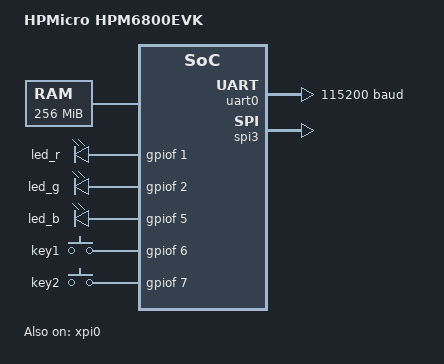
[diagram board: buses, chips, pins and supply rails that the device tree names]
/*
 * Copyright 2024 HPMicro
 * SPDX-License-Identifier: Apache-2.0
 */

/dts-v1/;

#include <hpmicro/hpm6880.dtsi>
#include "hpm6800evk-pinctrl.dtsi"
#include <zephyr/dt-bindings/display/panel.h>

/ {
	model = "HPMicro HPM6800EVK";
	compatible = "HPMicro,hpm6800evk";

	aliases {
		led0 = &led_r;
		sw0 = &key1;
	};

	chosen {
		zephyr,console = &uart0;
		zephyr,shell-uart = &uart0;
		zephyr,sram = &dram;
		zephyr,flash = &flash0;
		zephyr,itcm = &ilm;
		zephyr,dtcm = &dlm;
		zephyr,code-partition = &slot0_partition;
	};

	dram: memory@40000000 {
		device_type = "memory";
		reg = <0x40000000 DT_SIZE_M(256)>;
	};

	leds {
		compatible = "gpio-leds";
		led_r: led_r {
			gpios = <&gpiof 1 (GPIO_PULL_DOWN | GPIO_ACTIVE_HIGH)>;
		};
		led_g: led_g {
			gpios = <&gpiof 2 (GPIO_PULL_DOWN | GPIO_ACTIVE_HIGH)>;
		};
		led_b: led_b {
			gpios = <&gpiof 5 (GPIO_PULL_DOWN | GPIO_ACTIVE_HIGH)>;
		};		
	};

	gpio_keys {
		compatible = "gpio-keys";
		key1: key1 {
			gpios = <&gpiof 6 (GPIO_PULL_UP | GPIO_ACTIVE_HIGH)>;
		};
		key2: key2 {
			gpios = <&gpiof 7 (GPIO_PULL_UP | GPIO_ACTIVE_HIGH)>;
		};
	};

	panels {
		panel_tm070rdh13: panel_tm070rdh13 {
			compatible = "hpmicro,hpm-display-rgb";
			panel_name = "tm070rdh13";
			pixel_clock_khz = <60000>;
			hactive = <800>;
			hfront_porch = <50>;
			hback_porch = <36>;
			hsync_len = <10>;
			hsync_pol = <1>;

			vactive = <480>;
			vfront_porch = <10>;
			vback_porch = <20>;
			vsync_len = <3>;
			vsync_pol = <1>;
		};

		panel_cc10128007: panel_cc10128007 {
			compatible = "hpmicro,hpm-display-lvds";
			panel_name = "cc10128007";
			pixel_clock_khz = <74250>;
			hactive = <800>;
			hfront_porch = <60>;
			hback_porch = <60>;
			hsync_len = <40>;

			vactive = <1280>;
			vfront_porch = <18>;
			vback_porch = <18>;
			vsync_len = <6>;
		};

		panel_mc10128007: panel_mc10128007 {
			compatible = "hpmicro,hpm-display-mipi";
			panel_name = "mc10128007";
			pixel_clock_khz = <60000>;
			hactive = <800>;
			hfront_porch = <52>;
			hback_porch = <48>;
			hsync_len = <8>;

			vactive = <1280>;
			vfront_porch = <15>;
			vback_porch = <16>;
			vsync_len = <6>;

			mipi_lane_num = <4>;
			mipi_lane_speed = <500>;

			mipi_cmd = [
				05 00 FF 98 81 03  03 00 01 00  03 00 02 00  03 00 03 55  03 00 04 55  03 00 05 03  
				03 00 06 06  03 00 07 00  03 00 08 07  03 00 09 00  03 00 0A 00  03 00 0B 00  
				03 00 0C 00  03 00 0D 00  03 00 0E 00  03 00 0F 00  03 00 10 00  03 00 11 00  
				03 00 12 00  03 00 13 00  03 00 14 00  03 00 15 00  03 00 16 00  03 00 17 00  
				03 00 18 00  03 00 19 00  03 00 1A 00  03 00 1B 00  03 00 1C 00  03 00 1D 00  
				03 00 1E C0  03 00 1F 80  03 00 20 04  03 00 21 03  03 00 22 00  03 00 23 00  
				03 00 24 00  03 00 25 00  03 00 26 00  03 00 27 00  03 00 28 33  03 00 29 33  
				03 00 2A 00  03 00 2B 00  03 00 2C 00  03 00 2D 00  03 00 2E 00  03 00 2F 00  
				03 00 30 00  03 00 31 00  03 00 32 00  03 00 33 00  03 00 34 04  03 00 35 00  
				03 00 36 00  03 00 37 00  03 00 38 3C  03 00 39 00  03 00 3A 00  03 00 3B 00  
				03 00 3C 00  03 00 3D 00  03 00 3E 00  03 00 3F 00  03 00 40 00  03 00 41 00  
				03 00 42 00  03 00 43 00  03 00 44 00  03 00 50 00  03 00 51 11  03 00 52 44  
				03 00 53 55  03 00 54 88  03 00 55 AB  03 00 56 00  03 00 57 11  03 00 58 22  
				03 00 59 33  03 00 5A 44  03 00 5B 55  03 00 5C 66  03 00 5D 77  03 00 5E 00  
				03 00 5F 02  03 00 60 02  03 00 61 0A  03 00 62 09  03 00 63 08  03 00 64 13  
				03 00 65 12  03 00 66 11  03 00 67 10  03 00 68 0F  03 00 69 0E  03 00 6A 0D  
				03 00 6B 0C  03 00 6C 06  03 00 6D 07  03 00 6E 02  03 00 6F 02  03 00 70 02  
				03 00 71 02  03 00 72 02  03 00 73 02  03 00 74 02  03 00 75 02  03 00 76 02  
				03 00 77 0A  03 00 78 06  03 00 79 07  03 00 7A 10  03 00 7B 11  03 00 7C 12  
				03 00 7D 13  03 00 7E 0C  03 00 7F 0D  03 00 80 0E  03 00 81 0F  03 00 82 09  
				03 00 83 08  03 00 84 02  03 00 85 02  03 00 86 02  03 00 87 02  03 00 88 02  
				03 00 89 02  03 00 8A 02  05 00 FF 98 81 04  03 00 6E 2A  03 00 6F 37  03 00 3A 24  
				03 00 8D 19  03 00 87 BA  03 00 B2 D1  03 00 88 0B  03 00 38 01  03 00 39 00  
				03 00 B5 02  03 00 31 25  03 00 3B 98  05 00 FF 98 81 01  03 00 22 0A  03 00 31 0C  
				03 00 53 40  03 00 55 45  03 00 50 B7  03 00 51 B2  03 00 60 07  03 00 A0 22  
				03 00 A1 3F  03 00 A2 4E  03 00 A3 17  03 00 A4 1A  03 00 A5 2D  03 00 A6 21  
				03 00 A7 22  03 00 A8 C4  03 00 A9 1B  03 00 AA 25  03 00 AB A7  03 00 AC 1A  
				03 00 AD 19  03 00 AE 4B  03 00 AF 1F  03 00 B0 2A  03 00 B1 59  03 00 B2 64  
				03 00 B3 3F  03 00 C0 22  03 00 C1 48  03 00 C2 59  03 00 C3 15  03 00 C4 15  
				03 00 C5 28  03 00 C6 1C  03 00 C7 1E  03 00 C8 C4  03 00 C9 1C  03 00 CA 2B  
				03 00 CB A3  03 00 CC 1F  03 00 CD 1E  03 00 CE 52  03 00 CF 24  03 00 D0 2A  
				03 00 D1 58  03 00 D2 68  03 00 D3 3F  05 00 FF 98 81 00  02 78 11  02 00 29];
		};

		panel_tm103xdgp01: panel_tm103xdgp01 {
			compatible = "hpmicro,hpm-display-lvds";
			panel_name = "tm103xdgp01";
			dual_lvds_phy;
			pixel_clock_khz = <45000>;
			hactive = <1920>;
			hfront_porch = <32>;
			hback_porch = <32>;
			hsync_len = <64>;

			vactive = <720>;
			vfront_porch = <2>;
			vback_porch = <2>;
			vsync_len = <4>;
		};
	};

	video {
		video0: video0 {
			compatible = "hpmicro,hpm-video";
			status = "disabled";
		};

		video1: video1 {
			compatible = "hpmicro,hpm-video";
			status = "disabled";
		};
	};

};

&rgb0 {
	endpoint_in = <&lcdc1>;
};

&lvb_lvds0 {
	endpoint_in = <&lcdc0>;
};

&lvb_lvds1 {
	endpoint_in = <&lcdc1>;
};

&mipi_dsi0 {
	endpoint_in = <&lcdc0>;
};

&panel_tm070rdh13 {
	endpoint_in = <&rgb0>;
	pinctrl-0 = <&pinmux_rgb>;
	pinctrl-names = "default";
	backlight-gpios = <&gpioa 9 GPIO_ACTIVE_HIGH>;
	reset-gpios = <&gpioa 14 GPIO_ACTIVE_LOW>;
	cfg-gpios = <&gpioy 5 GPIO_ACTIVE_HIGH>;
	reset-time-active = <10>;
	pixel-format = <PANEL_PIXEL_FORMAT_ARGB_8888>;
	status = "disabled";
};

&panel_cc10128007 {
	endpoint_in = <&lvb_lvds1>;
	pinctrl-0 = <&pinmux_mipi_lvds_tx1>;
	pinctrl-names = "default";
	backlight-gpios = <&gpioa 31 GPIO_ACTIVE_HIGH>;
	cfg-gpios = <&gpioa 30 GPIO_ACTIVE_HIGH>;
	pixel-format = <PANEL_PIXEL_FORMAT_ARGB_8888>;
	status = "disabled";
};

&panel_mc10128007 {
	endpoint_in = <&mipi_dsi0>;
	pinctrl-0 = <&pinmux_mipi_lvds_tx0>;
	pinctrl-names = "default";
	reset-gpios = <&gpiob 1 GPIO_ACTIVE_LOW>;
	reset-time-active = <1>;
	reset-time-inactive = <10>;
	status = "disabled";
};

&panel_tm103xdgp01 {
	endpoint_in = <&lvb_lvds0>;
	pinctrl-0 = <&pinmux_lvb_lvds_dual>;
	pinctrl-names = "default";
	reset-gpios = <&gpioa 31 GPIO_ACTIVE_LOW>;
	reset-time-active = <10>;
	pixel-format = <PANEL_PIXEL_FORMAT_ARGB_8888>;
	status = "disabled";
};

&hdma {
	status = "okay";
};

&xdma {
	status = "okay";
};

&uart0 {
	status = "okay";
	current-speed = <115200>;
	pinctrl-0 = <&pinmux_uart0>;
	pinctrl-names = "default";
	uart-idle-trgm-reg = <0xF022C000>;
	uart-idle-trgm-pin = <115>;
	uart-idle-trgm-input-src = <0x0B>;
	uart-idle-trgm-output-gptmr-in = <0x38>;
	uart-idle-trgm-output-gptmr-sync = <0x37>;
	uart-idle-gptmr-reg = <0xF0090000>;
	uart-idle-gptmr-clock-name = <CLOCK_GPTMR4>;
	dmas = <&hdma 0 8>, <&hdma 1 9>;
	dma-names = "rx", "tx";
};

&gpioe {
	pinctrl-0 = <&pinmux_gpioe>;
	pinctrl-names = "default";
	status = "okay";
};

&gpiof {
	pinctrl-0 = <&pinmux_gpiof>;
	pinctrl-names = "default";
	status = "okay";
};

&gpioa {
	status = "okay";
};

&gpioy {
	status = "okay";
};

&gpiob {
	status = "okay";
};

&spi3 {
	status = "okay";
	pinctrl-0 = <&pinmux_spi3>;
	pinctrl-names = "default";
	cs-gpios = <&gpioe 4 GPIO_ACTIVE_LOW>;
	/* HDMA channels 0 and 1, muxed to SPI3 RX and TX */
	dmas = <&hdma 2 6>, <&hdma 3 7>;
	dma-names = "rx", "tx";
};

&xpi0 {
	status = "okay";
	flash0: flash@0 {
		compatible = "soc-nv-flash";
		reg = <0x80000000 DT_SIZE_M(16)>;
		status = "okay";
		erase-block-size = <4096>;
		write-block-size = <1>;
		
		partitions {
			compatible = "fixed-partitions";
			#address-cells = <1>;
			#size-cells = <1>;

			boot_partition: partition@0 {
				label = "mcuboot";
				reg = <0x0 0x3000>;
			};

			slot0_partition: partition@3000 {
				label = "image-0";
				reg = <0x3000 DT_SIZE_M(4)>;
			};
		};
	};
};

&gpioa {
	pinctrl-0 = <&pinmux_gpioa>;
	pinctrl-names = "default";
	status = "okay";	
};

&gpiob {
	pinctrl-0 = <&pinmux_gpiob>;
	pinctrl-names = "default";
	status = "okay";	
};

&i2c0 {
	status = "disabled";
	pinctrl-0 = <&pinmux_i2c0>;
	pinctrl-names = "default";

	ov5640: ov5640@3c {
		compatible = "ovti,ov5640";
		reg = <0x3c>;
		status = "disabled";

		reset-gpios = <&gpioa 22 GPIO_ACTIVE_HIGH>;
		powerdown-gpios = <&gpioa 21 GPIO_ACTIVE_LOW>;
	};
	
	ov7725: ov7725@21 {
		compatible = "ovti,ov7725";
		reg = <0x21>;
		status = "disabled";

		reset-gpios = <&gpioa 22 GPIO_ACTIVE_HIGH>;
	};

};

&i2c1 {
	status = "disabled";
	pinctrl-0 = <&pinmux_i2c1>;
	pinctrl-names = "default";

	eeprom: eeprom@50 {
		compatible = "atmel,at24";
		status = "disabled";
		reg = <0x50>;
		size = <256>;
		address-width = <8>;
		timeout = <25>;
		pagesize = <16>;
	};
};

&mipi_csi0 {
	status = "disabled";
};

&mipi_csi1 {
	status = "disabled";
};

/* Since the DVP and MIPI CSI pins of HPM6800EVK conflict, only one camera can be enabled. */
&camera0 {
	status = "disabled";
	interface = "dvp";
	pinctrl-0 = <&pinmux_dvp0>;
	pinctrl-names = "default";
	pixclk_sampling_falling = <1>;
	hsync_active_low = <1>;
	vsync_active_low = <1>;
};

&camera1 {
	status = "disabled";
	interface = "mipi";
	pinctrl-0 = <&pinmux_mipi_csi1>;
	pinctrl-names = "default";
	mipi_csi_controller = <&mipi_csi1>;
	pixclk_sampling_falling = <0>;
	hsync_active_low = <0>;
	vsync_active_low = <0>;
};

&video0 {
	status = "disabled";
	video_count = <1>;
	sensor = <&ov5640>;
	camera = <&camera1>;
};

&video1 {
	status = "disabled";
	video_count = <1>;
	sensor = <&ov7725>;
	camera = <&camera0>;
};




